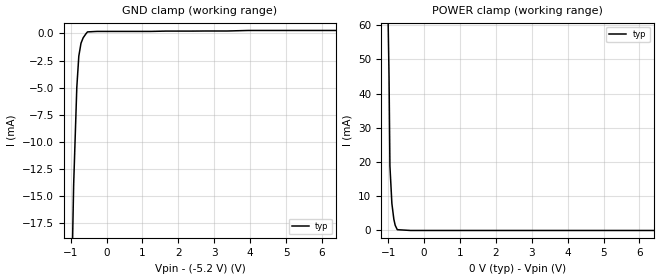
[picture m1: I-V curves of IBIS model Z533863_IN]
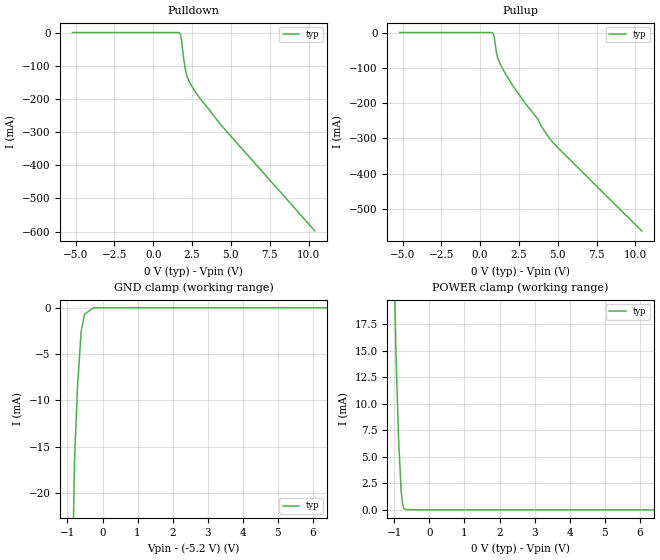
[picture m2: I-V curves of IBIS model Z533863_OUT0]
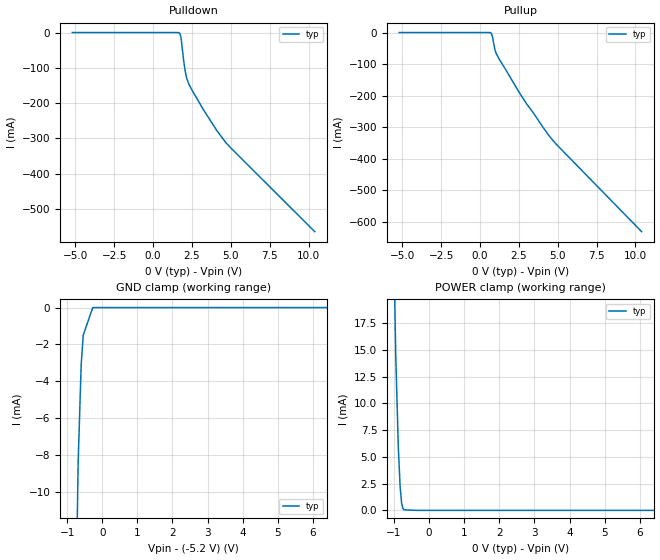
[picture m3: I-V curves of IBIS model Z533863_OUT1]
| YOU ARE ONLY AUTHORIZED TO USE THIS SOFTWARE
| ACCORDING TO LICENSOR'S LICENSE RESTRICTIONS.
[IBIS Ver] 3.1
[File Name] mc100el12d_pecl.ibs
[File Rev] 2.0
[Source] Measured and created by ICX Technology
[Date] Friday 7/14/00 9:07:48 AM
[Copyright]
| (C) COPYRIGHT 1993-2000
| MENTOR GRAPHICS CORPORATION
| ICX STANDARD LIBRARY, ICX PROJECT MODELING,
| ICX CUSTOM MODELING, ICX VENDOR MODEL
| ALL RIGHTS RESERVED.
| THE FOLLOWING ARE TRADEMARKS OR SERVICE MARKS OF
| MENTOR GRAPHICS CORPORATION:ICX (R), ICX STANDARD
| LIBRARY(R), ICX PROJECT MODELING(R), ICX CUSTOM
| MODELING(R), qualityIBIS(TM), MODELVIEWER(TM),
| AND MODELEDITOR(TM)
| ALL COPIES OF SOFTWARE, INCLUDING BUT NOT LIMITED TO
| ANY MODIFICATIONS, ENHANCEMENTS OR DERIVATIVE WORKS,
| MUST CONTAIN ALL MENTOR GRAPHICS CORPORATION'S
| NOTICES AND LEGENDS, INCLUDING THOSE EMBEDDED IN
| SOFTWARE AND THOSE AFFIXED TO SOFTWARE MEDIUM
| AND CONTAINER, AS RECEIVED FROM MENTOR GRAPHICS
| CORPORATION.
|  ZAP Model Builder 2.7
[Component] MC100EL12D_PECL
[Manufacturer] OnSemiconductor
[Package]
| variable   typ   min   max
R_pkg  .152ohms NA NA
L_pkg  2.714nH NA NA
C_pkg  .364pF NA NA
[Pin] signal_name  model_name  R_pin  L_pin C_pin
1 QA Z533863_OUT0 .154 2.924n .374p
2 QB Z533863_OUT0 .15 2.504n .354p
3 _QA Z533863_OUT1 .15 2.504n .354p
4 _QB Z533863_OUT1 .154 2.924n .374p
5 VEE POWER .154 2.924n .374p
6 D1 Z533863_IN .15 2.504n .354p
7 D0 Z533863_IN .15 2.504n .354p
8 VCC POWER .154 2.924n .374p
| Models and submodels in the file (3): Z533863_IN (Input_ECL), Z533863_OUT0 (Output_ECL), Z533863_OUT1 (Output_ECL)
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| (C) COPYRIGHT 1993-2000
| MENTOR GRAPHICS CORPORATION
| ICX STANDARD LIBRARY, ICX PROJECT MODELING,
| ICX CUSTOM MODELING, ICX VENDOR MODEL
| ALL RIGHTS RESERVED.
| THE FOLLOWING ARE TRADEMARKS OR SERVICE MARKS OF
| MENTOR GRAPHICS CORPORATION:ICX (R), ICX STANDARD
| LIBRARY(R), ICX PROJECT MODELING(R), ICX CUSTOM
| MODELING(R), qualityIBIS(TM), MODELVIEWER(TM),
| AND MODELEDITOR(TM)
| ALL COPIES OF SOFTWARE, INCLUDING BUT NOT LIMITED TO
| ANY MODIFICATIONS, ENHANCEMENTS OR DERIVATIVE WORKS,
| MUST CONTAIN ALL MENTOR GRAPHICS CORPORATION'S
| NOTICES AND LEGENDS, INCLUDING THOSE EMBEDDED IN
| SOFTWARE AND THOSE AFFIXED TO SOFTWARE MEDIUM
| AND CONTAINER, AS RECEIVED FROM MENTOR GRAPHICS
| CORPORATION.
| Model Application Version 1.89 2/18/99.
[Model] Z533863_IN
Model_type Input_ECL
Vinl = -1.475V
Vinh = -1.165V
C_comp 4.000pF NA NA
| variable typ   min   max
[Voltage Range] -5.200V NA NA
[GND Clamp Reference] -5.200V NA NA
[POWER Clamp Reference] 0.000V NA NA
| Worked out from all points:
|   GND clamp passes 1 mA (typ) near -0.72 V on its own axis
|   POWER clamp passes 1 mA (typ) near -0.78 V on its own axis
[GND Clamp]
-5.2V     -959.1mA   NA         NA
-1.02V    -31.21mA   NA         NA
-918mV    -13.98mA   NA         NA
-830mV    -4.968mA   NA         NA
-774mV    -2.082mA   NA         NA
-713mV    -897uA     NA         NA
-654mV    -405uA     NA         NA
-532mV    147.3uA    NA         NA
3.954V    279.2uA    NA         NA
10.4V     279.2uA    NA         NA
[POWER Clamp]
-5.2V     1.798A     NA         NA
-1.172V   158mA      NA         NA
-1.084V   112.5mA    NA         NA
-976.6mV  44.91mA    NA         NA
-952.1mV  18.84mA    NA         NA
-897.6mV  7.891mA    NA         NA
-843mV    3.283mA    NA         NA
-805.5mV  1.523mA    NA         NA
-747.2mV  230.5uA    NA         NA
-373.6mV  0A         NA         NA
10.4V     0A         NA         NA
| (C) COPYRIGHT 1993-2000
| MENTOR GRAPHICS CORPORATION
| ICX STANDARD LIBRARY, ICX PROJECT MODELING,
| ICX CUSTOM MODELING, ICX VENDOR MODEL
| ALL RIGHTS RESERVED.
| THE FOLLOWING ARE TRADEMARKS OR SERVICE MARKS OF
| MENTOR GRAPHICS CORPORATION:ICX (R), ICX STANDARD
| LIBRARY(R), ICX PROJECT MODELING(R), ICX CUSTOM
| MODELING(R), qualityIBIS(TM), MODELVIEWER(TM),
| AND MODELEDITOR(TM)
| ALL COPIES OF SOFTWARE, INCLUDING BUT NOT LIMITED TO
| ANY MODIFICATIONS, ENHANCEMENTS OR DERIVATIVE WORKS,
| MUST CONTAIN ALL MENTOR GRAPHICS CORPORATION'S
| NOTICES AND LEGENDS, INCLUDING THOSE EMBEDDED IN
| SOFTWARE AND THOSE AFFIXED TO SOFTWARE MEDIUM
| AND CONTAINER, AS RECEIVED FROM MENTOR GRAPHICS
| CORPORATION.
| Model Application Version 1.89 2/18/99.
[Model] Z533863_OUT0
Model_type Output_ECL
Vref=-2.000V
Rref=50.00ohms
Cref=0.000F
Vmeas=-1.320V
C_comp 8.000pF NA NA
| variable typ   min   max
[Voltage Range] -5.200V NA NA
[POWER Clamp Reference] 0.000V NA NA
[Pullup Reference] 0.000V NA NA
[Pulldown Reference] 0.000V NA NA
[GND Clamp Reference] -5.200V NA NA
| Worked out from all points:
|   GND clamp passes 1 mA (typ) near -0.53 V on its own axis
|   POWER clamp passes 1 mA (typ) near -0.78 V on its own axis
[GND Clamp]
-5.2V     -994.1mA   NA         NA
-801mV    -16.78mA   NA         NA
-713mV    -8.43mA    NA         NA
-609mV    -2.524mA   NA         NA
-513mV    -695.1uA   NA         NA
-256.5mV  0A         NA         NA
10.4V     0A         NA         NA
[Pulldown]
-5.2V     221.9uA    NA         NA
1.589V    144.6uA    NA         NA
1.704V    -1.983mA   NA         NA
1.758V    -7.954mA   NA         NA
1.807V    -19.89mA   NA         NA
1.944V    -74.22mA   NA         NA
2.061V    -110.4mA   NA         NA
2.163V    -130.7mA   NA         NA
2.305V    -147.2mA   NA         NA
2.82V     -186.4mA   NA         NA
4.507V    -286.5mA   NA         NA
10.4V     -597.8mA   NA         NA
[Pullup]
-5.2V     179.8uA    NA         NA
826.8mV   -1.713mA   NA         NA
897.2mV   -10.11mA   NA         NA
1.06V     -60.63mA   NA         NA
1.129V    -72.42mA   NA         NA
1.309V    -91.01mA   NA         NA
2.119V    -152mA     NA         NA
2.905V    -200.6mA   NA         NA
3.696V    -244.1mA   NA         NA
3.931V    -265.5mA   NA         NA
4.527V    -303.7mA   NA         NA
10.4V     -562.5mA   NA         NA
[POWER Clamp]
-5.2V     1.839A     NA         NA
-1.289V   108.7mA    NA         NA
-1.161V   61.03mA    NA         NA
-1.054V   30.67mA    NA         NA
-952.1mV  14.63mA    NA         NA
-878.9mV  6.609mA    NA         NA
-805.5mV  1.764mA    NA         NA
-767mV    602.3uA    NA         NA
-723mV    99.7uA     NA         NA
-684.6mV  28uA       NA         NA
-342.3mV  0A         NA         NA
10.4V     0A         NA         NA
[Ramp]
| variable typ min max
dV/dt_r 480.5m/832.7p NA NA
dV/dt_f 480.5m/1.341n NA NA
R_load = 50.00Ohms
| (C) COPYRIGHT 1993-2000
| MENTOR GRAPHICS CORPORATION
| ICX STANDARD LIBRARY, ICX PROJECT MODELING,
| ICX CUSTOM MODELING, ICX VENDOR MODEL
| ALL RIGHTS RESERVED.
| THE FOLLOWING ARE TRADEMARKS OR SERVICE MARKS OF
| MENTOR GRAPHICS CORPORATION:ICX (R), ICX STANDARD
| LIBRARY(R), ICX PROJECT MODELING(R), ICX CUSTOM
| MODELING(R), qualityIBIS(TM), MODELVIEWER(TM),
| AND MODELEDITOR(TM)
| ALL COPIES OF SOFTWARE, INCLUDING BUT NOT LIMITED TO
| ANY MODIFICATIONS, ENHANCEMENTS OR DERIVATIVE WORKS,
| MUST CONTAIN ALL MENTOR GRAPHICS CORPORATION'S
| NOTICES AND LEGENDS, INCLUDING THOSE EMBEDDED IN
| SOFTWARE AND THOSE AFFIXED TO SOFTWARE MEDIUM
| AND CONTAINER, AS RECEIVED FROM MENTOR GRAPHICS
| CORPORATION.
| Model Application Version 1.89 2/18/99.
[Model] Z533863_OUT1
Model_type Output_ECL
Vref=-2.000V
Rref=50.00ohms
Cref=0.000F
Vmeas=-1.320V
C_comp 8.000pF NA NA
| variable typ   min   max
[Voltage Range] -5.200V NA NA
[POWER Clamp Reference] 0.000V NA NA
[Pullup Reference] 0.000V NA NA
[Pulldown Reference] 0.000V NA NA
[GND Clamp Reference] -5.200V NA NA
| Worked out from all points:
|   POWER clamp passes 1 mA (typ) near -0.79 V on its own axis
[GND Clamp]
-5.2V     -577.8mA   NA         NA
-688mV    -8.481mA   NA         NA
-601mV    -3.106mA   NA         NA
-542mV    -1.499mA   NA         NA
-271mV    0A         NA         NA
10.4V     0A         NA         NA
[Pulldown]
-5.2V     234.4uA    NA         NA
1.704V    -1.676mA   NA         NA
1.777V    -10.46mA   NA         NA
1.807V    -18.78mA   NA         NA
1.975V    -82.43mA   NA         NA
2.064V    -108.9mA   NA         NA
2.163V    -129.8mA   NA         NA
2.306V    -146.5mA   NA         NA
3.204V    -216.2mA   NA         NA
4.097V    -277.8mA   NA         NA
4.98V     -326.3mA   NA         NA
10.4V     -564.6mA   NA         NA
[Pullup]
-5.2V     165.9uA    NA         NA
610.3mV   99.36uA    NA         NA
728.7mV   -2.219mA   NA         NA
795.9mV   -11.64mA   NA         NA
966.8mV   -55.62mA   NA         NA
1.053V    -67.03mA   NA         NA
1.25V     -85.36mA   NA         NA
2.461V    -185mA     NA         NA
2.993V    -225.7mA   NA         NA
4.404V    -324.7mA   NA         NA
4.888V    -353.6mA   NA         NA
10.4V     -632.1mA   NA         NA
[POWER Clamp]
-5.2V     1.644A     NA         NA
-1.347V   127mA      NA         NA
-1.216V   81.03mA    NA         NA
-1.035V   30.04mA    NA         NA
-952.1mV  14.59mA    NA         NA
-878.9mV  5.921mA    NA         NA
-825.1mV  2.12mA     NA         NA
-786.1mV  725.8uA    NA         NA
-747.6mV  166uA      NA         NA
-703.8mV  51.9uA     NA         NA
-351.9mV  0A         NA         NA
10.4V     0A         NA         NA
[Ramp]
| variable typ min max
dV/dt_r 538.7m/1.052n NA NA
dV/dt_f 538.7m/912.6p NA NA
R_load = 50.00Ohms
